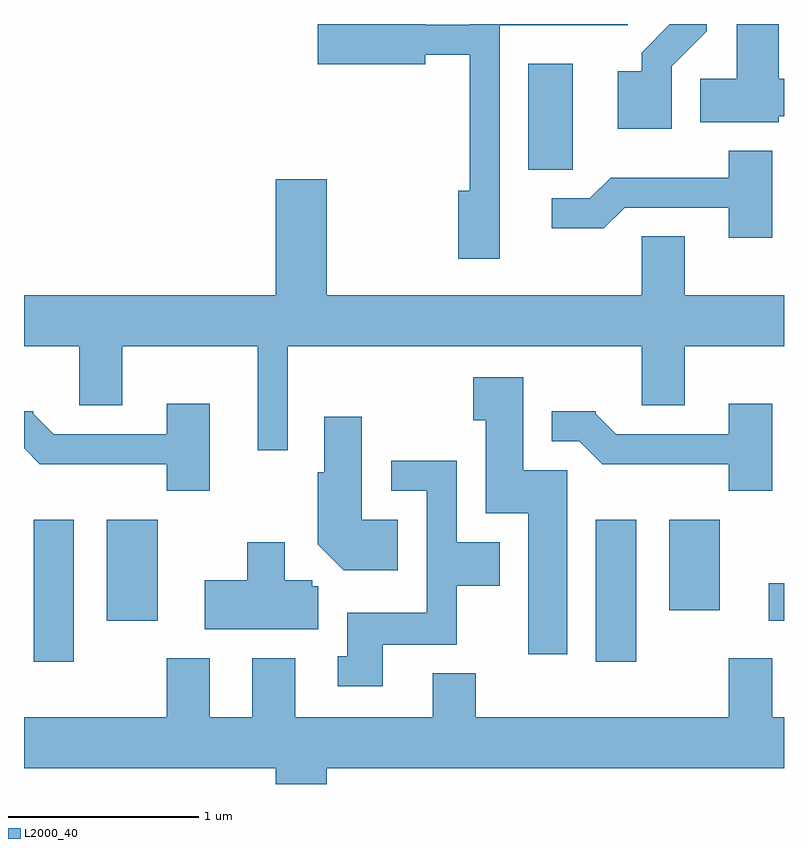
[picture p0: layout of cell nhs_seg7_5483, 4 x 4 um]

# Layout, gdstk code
import gdstk
lib = gdstk.Library(unit=1e-6, precision=1e-09)
def R(c, l, rs):  # rectangles x0, y0, x1, y1
    for r in rs: c.add(gdstk.rectangle(r[:2], r[2:], *l))
def P(c, l, *ps):  # polygons
    for p in ps: c.add(gdstk.Polygon(p, *l))
L2000_40 = (2000, 40)

nhs_seg7_5483 = lib.new_cell('nhs_seg7_5483')
R(nhs_seg7_5483, L2000_40, [(353.661,1694.896,353.874,1695.644), (356.621,1694.896,356.834,1695.644), (354.046,1695.111,354.314,1695.644), (357.531,1695.111,357.611,1695.309), (357.006,1695.166,357.274,1695.644), (356.266,1697.486,356.499,1698.044)])
P(nhs_seg7_5483, L2000_40, [(357.584,1697.766),(357.611,1697.766),(357.611,1697.964),(357.584,1697.964),(357.584,1698.252),(357.361,1698.252),(357.361,1697.964),(357.171,1697.964),(357.171,1697.736),(357.584,1697.736)],
  [(356.114,1698.246),(356.788,1698.246),(356.788,1698.252),(355.956,1698.252),(355.956,1698.249),(355.724,1698.249),(355.724,1698.252),(355.156,1698.252),(355.156,1698.041),(355.724,1698.041),(355.724,1698.091),(355.956,1698.091),(355.956,1697.374),(355.896,1697.374),(355.896,1697.016),(356.114,1697.016)],
  [(357.019,1698.029),(357.204,1698.214),(357.204,1698.252),(357.006,1698.252),(357.006,1698.247),(356.861,1698.102),(356.861,1698.004),(356.736,1698.004),(356.736,1697.701),(357.019,1697.701)],
  [(357.549,1697.584),(357.321,1697.584),(357.321,1697.444),(356.699,1697.444),(356.589,1697.334),(356.388,1697.334),(356.388,1697.176),(356.662,1697.176),(356.772,1697.286),(357.321,1697.286),(357.321,1697.126),(357.549,1697.126)],
  [(353.611,1696.556),(353.901,1696.556),(353.901,1696.246),(354.129,1696.246),(354.129,1696.556),(354.841,1696.556),(354.841,1696.008),(354.999,1696.008),(354.999,1696.556),(356.861,1696.556),(356.861,1696.246),(357.089,1696.246),(357.089,1696.556),(357.611,1696.556),(357.611,1696.824),(357.089,1696.824),(357.089,1697.134),(356.861,1697.134),(356.861,1696.824),(355.204,1696.824),(355.204,1697.434),(354.936,1697.434),(354.936,1696.824),(353.611,1696.824)],
  [(356.469,1695.904),(356.239,1695.904),(356.239,1696.394),(355.976,1696.394),(355.976,1696.166),(356.041,1696.166),(356.041,1695.676),(356.266,1695.676),(356.266,1694.936),(356.469,1694.936)],
  [(357.549,1696.254),(357.321,1696.254),(357.321,1696.094),(356.727,1696.094),(356.62,1696.201),(356.62,1696.214),(356.388,1696.214),(356.388,1696.056),(356.534,1696.056),(356.654,1695.936),(357.321,1695.936),(357.321,1695.796),(357.549,1695.796)],
  [(354.589,1696.254),(354.361,1696.254),(354.361,1696.094),(353.767,1696.094),(353.66,1696.201),(353.66,1696.214),(353.611,1696.214),(353.611,1696.019),(353.694,1695.936),(354.361,1695.936),(354.361,1695.796),(354.589,1695.796)],
  [(355.579,1695.644),(355.389,1695.644),(355.389,1696.184),(355.191,1696.184),(355.191,1695.894),(355.156,1695.894),(355.156,1695.514),(355.294,1695.376),(355.579,1695.376)],
  [(355.499,1694.986),(355.889,1694.986),(355.889,1695.296),(356.114,1695.296),(356.114,1695.524),(355.889,1695.524),(355.889,1695.954),(355.543,1695.954),(355.543,1695.796),(355.731,1695.796),(355.731,1695.154),(355.311,1695.154),(355.311,1694.924),(355.263,1694.924),(355.263,1694.766),(355.499,1694.766)],
  [(355.159,1695.294),(355.129,1695.294),(355.129,1695.324),(354.984,1695.324),(354.984,1695.524),(354.786,1695.524),(354.786,1695.324),(354.561,1695.324),(354.561,1695.066),(355.159,1695.066)],
  [(355.204,1694.336),(357.611,1694.336),(357.611,1694.604),(357.549,1694.604),(357.549,1694.914),(357.321,1694.914),(357.321,1694.604),(355.989,1694.604),(355.989,1694.834),(355.761,1694.834),(355.761,1694.604),(355.039,1694.604),(355.039,1694.914),(354.811,1694.914),(354.811,1694.604),(354.589,1694.604),(354.589,1694.914),(354.361,1694.914),(354.361,1694.604),(353.611,1694.604),(353.611,1694.336),(354.936,1694.336),(354.936,1694.252),(355.204,1694.252)])

lib.write_gds('nhs_seg7_5483.gds')
